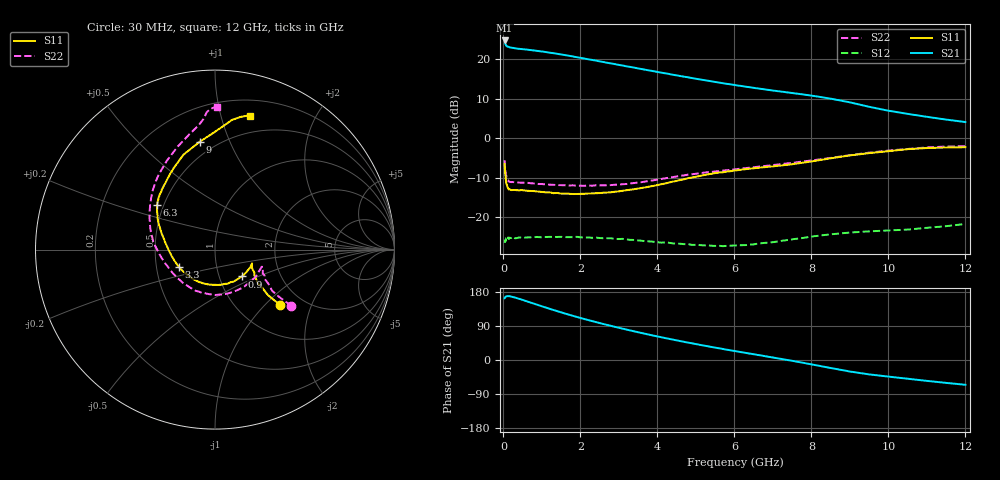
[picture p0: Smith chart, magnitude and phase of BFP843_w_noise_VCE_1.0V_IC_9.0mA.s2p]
! Infineon Technologies  Discrete & RF Semiconductors
! BFP843
! VCE =  1.0 V,  IC =  9.0 mA
! Common Emitter S-Parameters:  Aug 2013
# GHz  S  MA  R  50
!  f  S11  S21  S12  S22
! GHz  MAG  ANG  MAG  ANG  MAG  ANG  MAG  ANG
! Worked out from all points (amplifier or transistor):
!   103 points, 30 MHz to 12 GHz, reference 50 ohm
!   highest |S21| = 24.8 dB at 30 MHz (marker M1)
!   |S21| within 3 dB of that: start of sweep to 1.136 GHz
!   unconditionally stable (mu >= 1): 139.4 MHz to 141 MHz; 163.9 MHz to 11.22 GHz
!   at 400 MHz: K = 1.01, MAG = 23.3 dB, |S12| = -25.2 dB
!   at 3.7 GHz: K = 1.31, MAG = 18.4 dB, |S12| = -26.1 dB
!   at 12 GHz: K = 0.89, MSG = 12.9 dB, |S12| = -21.7 dB
!   lowest NFmin = 0.91 dB at 450 MHz
!   S11 on the Smith chart (normalised r, x): 30 MHz: 1.54, -1.22; 900 MHz: 1.28, -0.40; 3.3 GHz: 0.65, -0.13; 6.3 GHz: 0.46, +0.27; 9 GHz: 0.41, +0.78; 12 GHz: 0.34, +1.24
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0.03  0.4727 -40.4  17.44 163.0  0.0471 30.7  0.5288 -36.4
0.04  0.389 -40.7  16.35 164.0  0.0492 26.5  0.4449 -36.4
0.05  0.3424 -39.1  15.72 166.4  0.0512 18.4  0.3928 -35.8
0.07  0.279 -35.4  14.98 167.7  0.0541 14.3  0.3377 -31.6
0.13  0.2302 -25.9  14.48 168.8  0.054 5.8  0.2859 -23.2
0.3  0.2209 -20.7  13.88 164.8  0.0538 3.4  0.2761 -20.8
0.6  0.2161 -31.8  13.37 155.1  0.0553 0.8  0.2735 -32.3
0.9  0.2111 -45.1  12.81 145.0  0.0559 -1.0  0.2637 -46.6
1.2  0.2063 -59.5  12.2 135.1  0.0562 -3.0  0.2578 -61.3
1.5  0.1986 -74.4  11.59 125.7  0.0563 -3.7  0.2546 -75.4
2.1  0.1977 -103.4  10.27 108.1  0.0553 -7.3  0.2495 -102.8
2.7  0.2052 -130.2  9.077 92.4  0.0539 -10.3  0.2533 -127.0
3.3  0.2228 -154.7  8.036 77.8  0.0515 -13.5  0.2676 -149.2
4.1  0.2611 179.2  6.81 60.1  0.0474 -13.8  0.3049 -173.1
5  0.3254 159.4  5.698 42.0  0.0446 -11.5  0.3548 169.3
6.1  0.3948 145.0  4.666 22.1  0.0439 -4.4  0.409 153.1
6.3  0.4067 142.6  4.514 18.6  0.0442 -2.9  0.419 150.3
7.4  0.4624 126.8  3.81 -0.4  0.0514 1.7  0.482 135.7
8.5  0.5574 108.4  3.185 -21.1  0.0605 -0.8  0.5639 118.3
9  0.6065 98.1  2.86 -30.4  0.0637 -3.7  0.611 109.8
10.5  0.7279 82.6  2.042 -49.4  0.0695 -8.8  0.7321 94.9
12  0.7709 75.2  1.608 -65.4  0.082 -15.0  0.7967 89.2
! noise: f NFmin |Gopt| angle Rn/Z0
0.45  0.91  0.08  6  0.01
0.9  0.92  0.08  17  0.04
1.5  0.94  0.08  27  0.09
1.9  0.97  0.07  36  0.17
2.4  1  0.06  47  0.24
3.5  1.06  0.03  59  0.28
5.5  1.2  0.15  -131  0.32
10  1.84  0.5  -68  0.42
